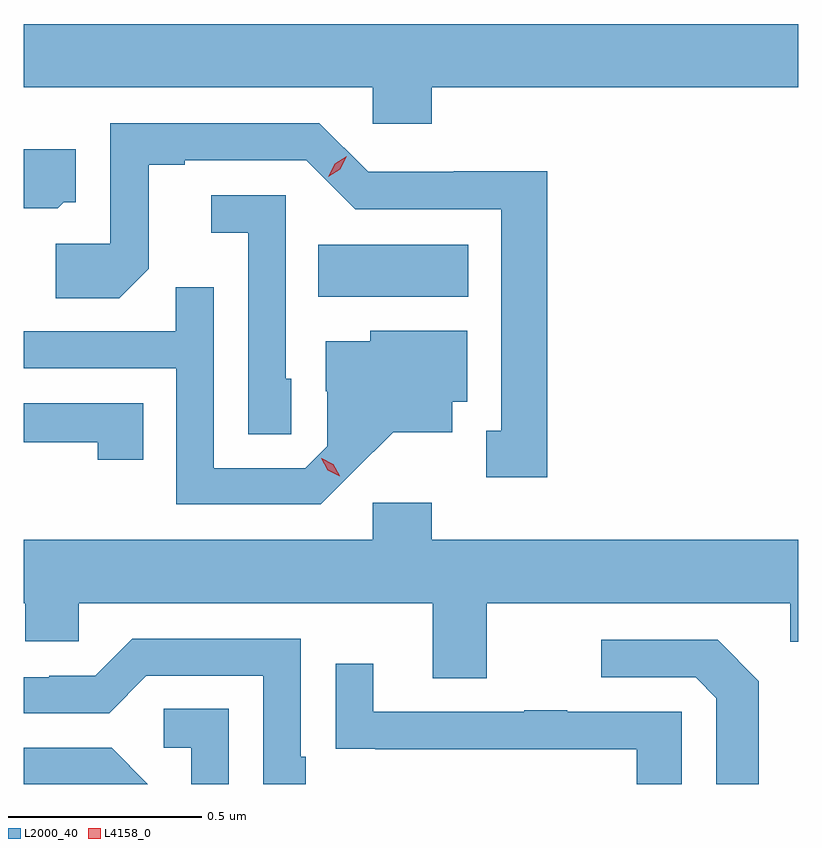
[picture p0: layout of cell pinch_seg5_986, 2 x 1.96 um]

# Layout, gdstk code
import gdstk
lib = gdstk.Library(unit=1e-6, precision=1e-09)
def R(c, l, rs):  # rectangles x0, y0, x1, y1
    for r in rs: c.add(gdstk.rectangle(r[:2], r[2:], *l))
def P(c, l, *ps):  # polygons
    for p in ps: c.add(gdstk.Polygon(p, *l))
L2000_40 = (2000, 40)
L4158_0 = (4158, 0)

pinch_seg5_986 = lib.new_cell('pinch_seg5_986')
R(pinch_seg5_986, L2000_40, [(720.34,880.196,720.727,880.33)])
P(pinch_seg5_986, L2000_40, [(720.632,880.736),(721.579,880.736),(721.579,880.9),(719.579,880.9),(719.579,880.736),(720.48,880.736),(720.48,880.643),(720.632,880.643)],
  [(720.931,880.52),(720.69,880.52),(720.69,880.518),(720.468,880.518),(720.342,880.644),(719.802,880.644),(719.802,880.332),(719.661,880.332),(719.661,880.192),(719.825,880.192),(719.901,880.268),(719.901,880.536),(719.995,880.536),(719.995,880.548),(720.309,880.548),(720.435,880.422),(720.812,880.422),(720.812,879.849),(720.773,879.849),(720.773,879.729),(720.931,879.729)],
  [(719.682,880.44),(719.713,880.44),(719.713,880.576),(719.579,880.576),(719.579,880.424),(719.666,880.424)],
  [(720.27,879.984),(720.255,879.984),(720.255,880.458),(720.063,880.458),(720.063,880.361),(720.159,880.361),(720.159,879.841),(720.27,879.841)],
  [(720.43,879.743),(720.533,879.845),(720.685,879.845),(720.685,879.924),(720.724,879.924),(720.724,880.108),(720.474,880.108),(720.474,880.081),(720.359,880.081),(720.359,879.952),(720.363,879.952),(720.363,879.81),(720.306,879.753),(720.069,879.753),(720.069,880.22),(719.971,880.22),(719.971,880.107),(719.579,880.107),(719.579,880.011),(719.973,880.011),(719.973,879.66),(720.346,879.66)],
  [(719.888,879.921),(719.579,879.921),(719.579,879.82),(719.77,879.82),(719.77,879.774),(719.888,879.774)],
  [(720.775,879.404),(721.559,879.404),(721.559,879.305),(721.579,879.305),(721.579,879.568),(720.632,879.568),(720.632,879.664),(720.48,879.664),(720.48,879.568),(719.579,879.568),(719.579,879.404),(719.583,879.404),(719.583,879.306),(719.721,879.306),(719.721,879.404),(720.635,879.404),(720.635,879.21),(720.775,879.21)],
  [(720.307,879.007),(720.294,879.007),(720.294,879.312),(719.859,879.312),(719.763,879.216),(719.645,879.216),(719.645,879.213),(719.579,879.213),(719.579,879.12),(719.799,879.12),(719.895,879.216),(720.198,879.216),(720.198,878.937),(720.307,878.937)],
  [(721.477,879.203),(721.371,879.309),(721.071,879.309),(721.071,879.213),(721.314,879.213),(721.368,879.159),(721.368,878.937),(721.477,878.937)],
  [(721.278,879.123),(720.983,879.123),(720.983,879.128),(720.871,879.128),(720.871,879.123),(720.481,879.123),(720.481,879.247),(720.385,879.247),(720.385,879.028),(720.487,879.028),(720.487,879.027),(721.162,879.027),(721.162,878.937),(721.278,878.937)],
  [(720.108,879.131),(719.94,879.131),(719.94,879.03),(720.012,879.03),(720.012,878.937),(720.108,878.937)],
  [(719.806,879.03),(719.579,879.03),(719.579,878.937),(719.899,878.937)])
P(pinch_seg5_986, L4158_0, [(720.365,880.506),(720.365,880.506),(720.382,880.539),(720.413,880.558),(720.413,880.558),(720.413,880.558),(720.396,880.525),(720.365,880.506)],
  [(720.395,879.732),(720.364,879.748),(720.347,879.778),(720.347,879.778),(720.348,879.778),(720.378,879.763),(720.395,879.733),(720.395,879.732)])

lib.write_gds('pinch_seg5_986.gds')
